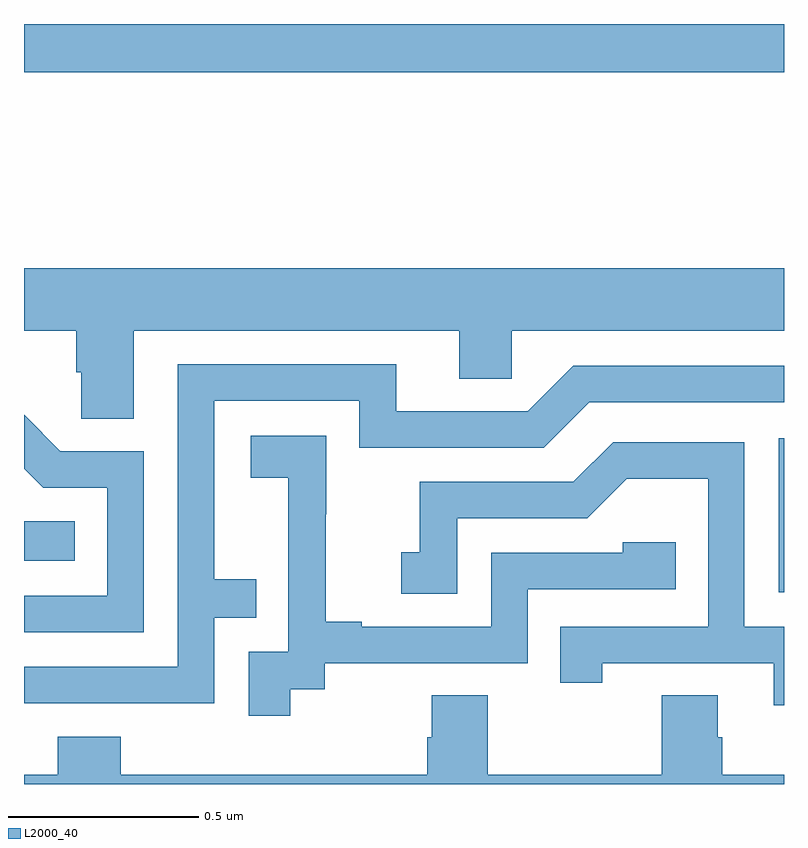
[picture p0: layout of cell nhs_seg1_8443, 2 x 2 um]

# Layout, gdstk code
import gdstk
lib = gdstk.Library(unit=1e-6, precision=1e-09)
def R(c, l, rs):  # rectangles x0, y0, x1, y1
    for r in rs: c.add(gdstk.rectangle(r[:2], r[2:], *l))
def P(c, l, *ps):  # polygons
    for p in ps: c.add(gdstk.Polygon(p, *l))
L2000_40 = (2000, 40)

nhs_seg1_8443 = lib.new_cell('nhs_seg1_8443')
R(nhs_seg1_8443, L2000_40, [(217.986,557.703,218,558.109), (216,557.786,216.134,557.89), (216,559.072,218,559.199)])
P(nhs_seg1_8443, L2000_40, [(216.289,558.392),(217.145,558.392),(217.145,558.265),(217.284,558.265),(217.284,558.392),(218,558.392),(218,558.556),(216,558.556),(216,558.392),(216.137,558.392),(216.137,558.283),(216.15,558.283),(216.15,558.16),(216.289,558.16)],
  [(216.005,557.412),(216.501,557.412),(216.501,557.637),(216.611,557.637),(216.611,557.738),(216.501,557.738),(216.501,558.207),(216.882,558.207),(216.882,558.084),(217.368,558.084),(217.488,558.204),(218,558.204),(218,558.3),(217.446,558.3),(217.326,558.18),(216.979,558.18),(216.979,558.303),(216.405,558.303),(216.405,557.508),(216,557.508),(216,557.411),(216.005,557.411)],
  [(216.315,558.075),(216.096,558.075),(216,558.171),(216,558.029),(216.05,557.979),(216.219,557.979),(216.219,557.694),(216,557.694),(216,557.598),(216.315,557.598)],
  [(216.7,557.449),(216.792,557.449),(216.792,557.517),(217.326,557.517),(217.326,557.712),(217.715,557.712),(217.715,557.835),(217.575,557.835),(217.575,557.808),(217.23,557.808),(217.23,557.613),(216.889,557.613),(216.889,557.626),(216.794,557.626),(216.794,557.909),(216.795,557.909),(216.795,558.115),(216.597,558.115),(216.597,558.005),(216.695,558.005),(216.695,557.777),(216.696,557.777),(216.696,557.547),(216.591,557.547),(216.591,557.379),(216.7,557.379)],
  [(218,557.613),(217.896,557.613),(217.896,558.099),(217.55,558.099),(217.445,557.994),(217.042,557.994),(217.042,557.809),(216.993,557.809),(216.993,557.7),(217.14,557.7),(217.14,557.898),(217.482,557.898),(217.586,558.002),(217.8,558.002),(217.8,557.613),(217.411,557.613),(217.411,557.466),(217.522,557.466),(217.522,557.517),(217.973,557.517),(217.973,557.406),(218,557.406)],
  [(218,557.224),(217.838,557.224),(217.838,557.322),(217.825,557.322),(217.825,557.432),(217.678,557.432),(217.678,557.224),(217.221,557.224),(217.221,557.432),(217.073,557.432),(217.073,557.322),(217.061,557.322),(217.061,557.224),(216.254,557.224),(216.254,557.323),(216.089,557.323),(216.089,557.224),(216,557.224),(216,557.199),(218,557.199)])

lib.write_gds('nhs_seg1_8443.gds')
